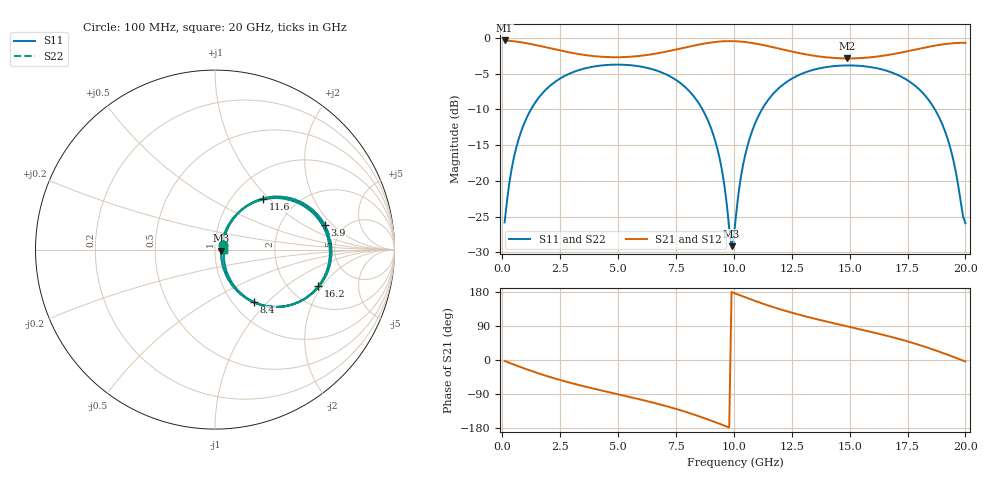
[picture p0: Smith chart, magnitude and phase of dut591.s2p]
! Touchstone file exported from HFSS 2026.1.0
!  File:  C:/ffzhzh/LocalFiles/Ansys_Project_Files/temp_train_TSV_RDL_591_1783120365_37876.aedt
!  Generated:  07:33:34 AM Jul  4, 2026
!  Design:  TSV_RDL
!  Project:  temp_train_TSV_RDL_591_1783120365_37876
! Variables:
!  h_bsmrdl = 3.1um
!  h_ox = 20um
!  h_rdl = 5um
!  h_sub = 87.51um
!  h_tmrdl = 2.06um
!  h_tsv = 87.51um
!  h_via = 3um
!  l_bsmrdl = 850.8um
!  l_sub = 6155.47um
!  l_tmrdl = 771.33um
!  m_sub = 200um
!  pitch = 58.15um
!  r_tsv = 5.28um
!  s_tmrdl = 10um
!  w_bsmrdl = 15.2um
!  w_sub = 500um
!  w_tmrdl = 24.05um
!  x_tsv_center1 = 783.355um
!  x_tsv_center2 = 1649.355um
!  x_tsv_center3 = 2444.735um
!  x_tsv_center4 = 3310.735um
!  x_tsv_center5 = 4106.115um
!  x_tsv_center6 = 4972.115um
# GHz S MA R 50.000000
! Terminal data exported
! Port[1] = TM_RDL1_1_T1
! Port[2] = TM_RDL5_1_T1
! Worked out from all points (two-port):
!   200 points, 100 MHz to 20 GHz, reference 50 ohm
!   highest |S21| = -0.38 dB at 100 MHz (marker M1); lowest = -2.9 dB at 14.9 GHz (marker M2)
!   |S21| within 3 dB of the highest: start of sweep to end of sweep
!   lowest |S11| = -29.1 dB at 9.9 GHz (marker M3), VSWR 1.07, Z = 53.6 - j0.69 ohm
!   |S11| at or under -10 dB: start of sweep to 1.243 GHz; 8.641 GHz to 11.22 GHz (2.576 GHz wide, 25.9 % of centre); 18.68 GHz to end of sweep
!   |S22| runs from -29.2 to -3.8 dB; largest |S21 - S12| = 1.6e-14
!   S11 on the Smith chart (normalised r, x): 100 MHz: 1.09, +0.06; 3.9 GHz: 3.60, +1.61; 8.4 GHz: 1.24, -0.84; 11.6 GHz: 1.39, +0.92; 16.2 GHz: 2.83, -1.84; 20 GHz: 1.11, -0.01
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0.1  0.05131 31.6  0.9571 -2.5  0.9571 -2.5  0.05131 31.6
! Gamma 0 0 0 0
! Port Impedance 50 0 50 0
0.5  0.1454 59.6  0.9447 -12.1  0.9447 -12.1  0.1454 59.6
1.1  0.2861 55.0  0.9122 -25.6  0.9122 -25.6  0.2861 55.0
2.2  0.4813 37.5  0.8347 -47.5  0.8347 -47.5  0.4813 37.5
3.5  0.6066 18.0  0.76 -69.0  0.76 -69.0  0.6066 18.0
3.9  0.627 12.5  0.7457 -74.9  0.7457 -74.9  0.627 12.5
5.4  0.6453 -7.5  0.7344 -96.2  0.7344 -96.2  0.6453 -7.5
6.8  0.5793 -27.2  0.7837 -117.1  0.7837 -117.1  0.5793 -27.2
8.4  0.3651 -53.6  0.89 -146.5  0.89 -146.5  0.3651 -53.6
9.3  0.1649 -66.3  0.938 -166.4  0.938 -166.4  0.1649 -66.4
9.6  0.09104 -62.9  0.9454 -173.5  0.9454 -173.5  0.09094 -63.1
9.9  0.035 -10.6  0.947 179.4  0.947 179.4  0.03458 -10.8
10.1  0.05883 47.2  0.9447 174.7  0.9447 174.7  0.05851 47.6
10.6  0.1784 60.8  0.9284 163.0  0.9284 163.0  0.1782 61.0
11.6  0.3888 46.1  0.8649 141.6  0.8649 141.6  0.3886 46.2
13.4  0.5946 17.9  0.7512 110.4  0.7512 110.4  0.5945 18.0
14.9  0.6407 -2.3  0.717 88.8  0.717 88.8  0.6405 -2.2
16.2  0.611 -19.5  0.739 70.2  0.739 70.2  0.6109 -19.5
16.7  0.5807 -26.6  0.7596 62.5  0.7596 62.5  0.5806 -26.5
18.8  0.2917 -58.9  0.8873 23.5  0.8873 23.5  0.2916 -58.9
19.4  0.1582 -63.1  0.9134 10.1  0.9134 10.1  0.158 -63.2
20  0.05065 -4.2  0.9212 -3.9  0.9212 -3.9  0.05023 -4.0
